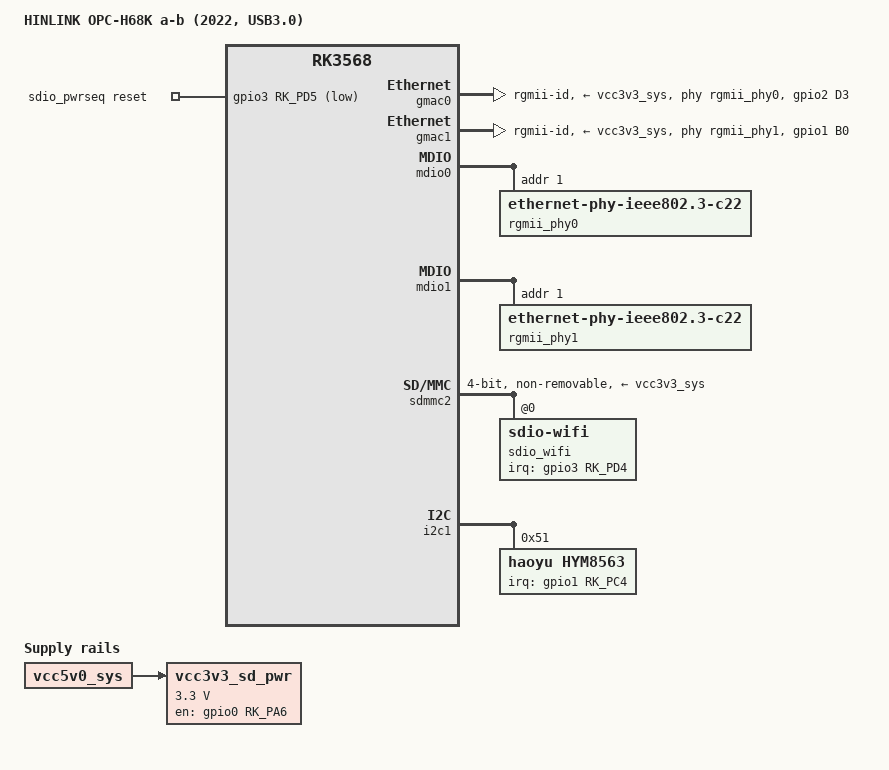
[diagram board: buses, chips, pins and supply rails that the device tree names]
// SPDX-License-Identifier: (GPL-2.0+ OR MIT)
/*
 * HinLink OPC-H68K a-b (USB3.0)
 *
 * HinLink 适配 for immortalwrt —— 每机型独立 DTS，不做自适应。
 *
 * 硬件事实来源：厂商 2022 R22.7.19/R22.8.22 固件 dtb（已解包反编译逐项核对）
 * 蓝本：OpenWrt 主线 rk3568-hinlink-h68k.dts
 *
 * 2022 老机器：2 个千兆口，无 2.5G，板载 SDIO WiFi（AP6256/Broadcom）+ RTC
 *   网口：LAN = eth1 / **WAN = eth0**（老一代把 WAN 焊在 gmac0 上）
 *
 * ★ 与 rk3568-hinlink-h68k-a-b.dts（SATA 版）**只差 &sata0 一行**：
 *   RK3568 上 sata0 与 USB3.0 争同一颗 combphy0，硬件二选一，故两个变体必须并存。
 */

/dts-v1/;

#include "rk3568-hinlink-opc.dtsi"

/ {
	model = "HINLINK OPC-H68K a-b (2022, USB3.0)";
	compatible = "hinlink,opc-h68k-a-b-usb", "hinlink,opc-h68k-a-usb", "hinlink,h68k", "linkstar,h68k", "rockchip,rk3568";

	aliases {
		ethernet0 = &gmac0;
		ethernet1 = &gmac1;
	};
};
&gmac0 {
	assigned-clocks = <&cru SCLK_GMAC0_RX_TX>, <&cru SCLK_GMAC0>;
	assigned-clock-parents = <&cru SCLK_GMAC0_RGMII_SPEED>;
	assigned-clock-rates = <0>, <125000000>;
	clock_in_out = "output";
	phy-mode = "rgmii-id";
	phy-supply = <&vcc3v3_sys>;
	pinctrl-names = "default";
	pinctrl-0 = <&gmac0_miim
		     &gmac0_tx_bus2
		     &gmac0_rx_bus2
		     &gmac0_rgmii_clk
		     &gmac0_rgmii_bus
		     &gmac0_rstn>;
	snps,reset-gpios = <&gpio2 RK_PD3 GPIO_ACTIVE_LOW>;
	snps,reset-active-low;
	snps,reset-delays-us = <0 20000 100000>;
	tx_delay = <0x3c>;
	rx_delay = <0x2f>;
	phy-handle = <&rgmii_phy0>;
	status = "okay";
};

&gmac1 {
	assigned-clocks = <&cru SCLK_GMAC1_RX_TX>, <&cru SCLK_GMAC1>;
	assigned-clock-parents = <&cru SCLK_GMAC1_RGMII_SPEED>;
	assigned-clock-rates = <0>, <125000000>;
	clock_in_out = "output";
	phy-mode = "rgmii-id";
	phy-supply = <&vcc3v3_sys>;
	pinctrl-names = "default";
	pinctrl-0 = <&gmac1m1_miim
		     &gmac1m1_tx_bus2
		     &gmac1m1_rx_bus2
		     &gmac1m1_rgmii_clk
		     &gmac1m1_rgmii_bus
		     &gmac1_rstn>;
	snps,reset-gpios = <&gpio1 RK_PB0 GPIO_ACTIVE_LOW>;
	snps,reset-active-low;
	snps,reset-delays-us = <0 20000 100000>;
	tx_delay = <0x4f>;
	rx_delay = <0x26>;
	phy-handle = <&rgmii_phy1>;
	status = "okay";
};

&mdio0 {
	rgmii_phy0: ethernet-phy@1 {
		compatible = "ethernet-phy-ieee802.3-c22";
		reg = <0x1>;
	};
};

&mdio1 {
	rgmii_phy1: ethernet-phy@1 {
		compatible = "ethernet-phy-ieee802.3-c22";
		reg = <0x1>;
	};
};

/*
 * 2 网口变体：屏蔽两路 PCIe 2.5G
 * 仅保留 2 个 RGMII 千兆口
 */
&combphy1 {
	status = "disabled";
};

&combphy2 {
	status = "disabled";
};

&pcie3x1 {
	status = "disabled";
};

&pcie3x2 {
	status = "disabled";
};

&{/} {
	sdio_pwrseq: sdio-pwrseq {
		compatible = "mmc-pwrseq-simple";
		clocks = <&rk809 1>;
		clock-names = "ext_clock";
		pinctrl-names = "default";
		pinctrl-0 = <&wifi_enable>;
		post-power-on-delay-ms = <200>;
		power-off-delay-us = <5000000>;
		reset-gpios = <&gpio3 RK_PD5 GPIO_ACTIVE_LOW>;
	};
};

&{/} {
	vcc3v3_sd_pwr: vcc3v3-sd-pwr {
		compatible = "regulator-fixed";
		enable-active-high;
		gpio = <&gpio0 RK_PA6 GPIO_ACTIVE_HIGH>;
		pinctrl-names = "default";
		pinctrl-0 = <&vcc3v3_sd_pwr_en>;
		regulator-always-on;
		regulator-boot-on;
		regulator-min-microvolt = <3300000>;
		regulator-max-microvolt = <3300000>;
		regulator-name = "vcc3v3_sd_pwr";
		vin-supply = <&vcc5v0_sys>;
	};
};

&sdmmc2 {
	bus-width = <4>;
	cap-sd-highspeed;
	cap-sdio-irq;
	disable-wp;
	keep-power-in-suspend;
	max-frequency = <15000000>;
	mmc-pwrseq = <&sdio_pwrseq>;
	non-removable;
	pinctrl-names = "default";
	pinctrl-0 = <&sdmmc2m0_bus4 &sdmmc2m0_cmd &sdmmc2m0_clk>;
	sd-uhs-sdr25;
	sd-uhs-sdr50;
	sd-uhs-sdr104;
	status = "okay";
	vmmc-supply = <&vcc3v3_sys>;
	vqmmc-supply = <&vcc3v3_sd_pwr>;

	sdio_wifi: sdio-wifi@0 {
		interrupt-parent = <&gpio3>;
		interrupts = <RK_PD4 IRQ_TYPE_LEVEL_HIGH>;
		interrupt-names = "host-wake";
		reg = <0>;
	};
};

&i2c1 {
	hym8563: rtc@51 {
		compatible = "haoyu,hym8563";
		interrupt-parent = <&gpio1>;
		interrupts = <RK_PC4 IRQ_TYPE_EDGE_FALLING>;
		pinctrl-names = "default";
		pinctrl-0 = <&rtc_int>;
		reg = <0x51>;
	};
};

/*
 * ★ 原&rk809 { ext_32k_clk_out { rockchip,grf = <&rk809_grf 0>; } } 已删除
 *
 *   原因：Linux 6.18 的 rk3568 SoC dtsi 里**没有 rk809 节点，也没有 rk809_grf
 *   标签**（6.18 已把 SoC 拆分到 rk356x-base.dtsi，RK809 PMIC 不在其中）。
 *   保留这段会因 phandle 找不到而**编译失败**。
 *
 *   佐证：6.18 内核自带的 rk3568-hinlink-h68k.dts（官方蓝本）也没有这段。
 *   而本仓库的 rk3568-hinlink-opc.dtsi 与 6.18 内核自带的同名文件
 *   **sha256 完全一致**，说明这份 dtsi 已是上游官方版本 ——
 *   上游没引用 rk809_grf，说明它确实不需要。
 *
 *   这个 32.768kHz 时钟输出是给 RTC 用的；RK3568 板载 RTC 走
 *   hym8563（I2C），不依赖 RK809。若你的机器确实需要它，
 *   应改用 `rk809` 相关的正确写法或另找时钟源。
 */


&pinctrl {
	sdmmc {
		vcc3v3_sd_pwr_en: vcc3v3-sd-pwr-en {
			rockchip,pins = <0 RK_PA6 RK_FUNC_GPIO &pcfg_pull_none>;
		};

		/*
		 * ★ sdmmc2m0_bus4 / _cmd / _clk 的定义**已删除**：
		 *   内核 rk3568-pinctrl.dtsi 已提供同名标签，内容与我们逐项相同
		 *   （如 <3 RK_PC6 3 &pcfg_pull_up_drv_level_2>），重定义会报
		 *   duplicate_label。&sdmmc2 的 pinctrl-0 照常引用内核定义。
		 */

	};

	wifi {
		wifi_enable: wifi-enable {
			rockchip,pins = <3 RK_PD5 RK_FUNC_GPIO &pcfg_pull_none>;
		};
	};
};


&pinctrl {
	rtc {
		rtc_int: rtc-int {
			rockchip,pins = <1 RK_PC4 RK_FUNC_GPIO &pcfg_pull_up>;
		};
	};
};

&pinctrl {
	gmac {
		gmac0_rstn: gmac0-rstn {
			rockchip,pins = <2 RK_PD3 RK_FUNC_GPIO &pcfg_pull_none>;
		};

		gmac1_rstn: gmac1-rstn {
			rockchip,pins = <1 RK_PB0 RK_FUNC_GPIO &pcfg_pull_none>;
		};
	};
};

/* ============================================================
 * USB3.0 变体（默认）：combphy0 让给 USB3.0
 *
 * ★ RK3568 硬件复用关系（rk3568.dtsi 实证）：
 *     sata0    phys = <&combphy0 PHY_TYPE_SATA>   (phy@fe820000)
 *     USB3.0   也需要 combphy0 作 PHY_TYPE_USB3
 *   combphy 同一时刻只能是一种 PHY_TYPE ⇒ SATA 与 USB3.0 **二选一**。
 *
 * 本变体禁用 sata0，combphy0 供 USB3.0 使用。
 * 需要 SATA 的机器请用 rk3568-hinlink-h68k-a-b.dts。
 *
 * ★ 该复用只存在于 2022-2023 老机器（h68k-a-b / c-d-f 两组的两个变体）。
 *   新机 h68k-new 与 h69k 系不涉及此复用，两者可同时使用。
 * ============================================================ */

&sata0 {
	status = "disabled";
};
